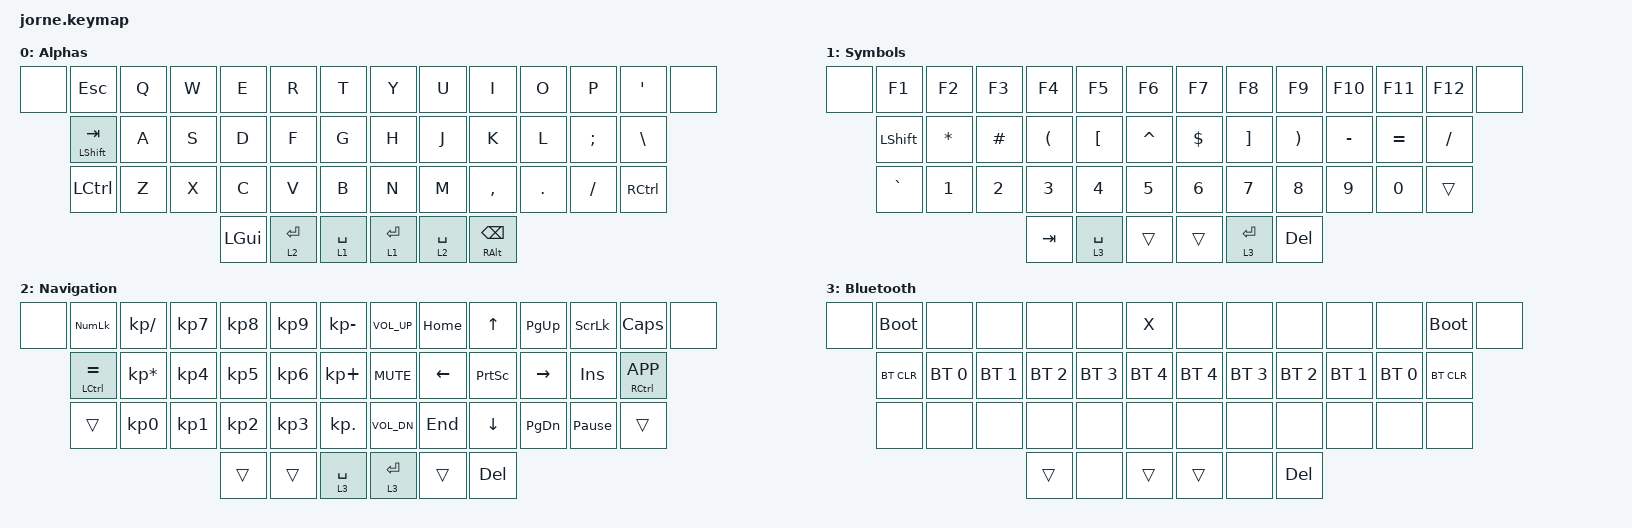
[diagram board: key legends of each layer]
#include <behaviors.dtsi>
#include <dt-bindings/zmk/bt.h>
#include <dt-bindings/zmk/keys.h>

/ {
    keymap {
        compatible = "zmk,keymap";

        Alphas {
            bindings = <
&none  &kp ESC        &kp Q  &kp W  &kp E         &kp R         &kp T        &kp Y        &kp U        &kp I          &kp O    &kp P     &kp SQT    &none
       &mt LSHFT TAB  &kp A  &kp S  &kp D         &kp F         &kp G        &kp H        &kp J        &kp K          &kp L    &kp SEMI  &kp BSLH
       &kp LCTRL      &kp Z  &kp X  &kp C         &kp V         &kp B        &kp N        &kp M        &kp COMMA      &kp DOT  &kp FSLH  &kp RCTRL
                                    &kp LEFT_GUI  &lt 2 RETURN  &lt 1 SPACE  &lt 1 ENTER  &lt 2 SPACE  &mt RALT BSPC
            >;
        };

        Symbols {
            bindings = <
&none  &kp F1     &kp F2    &kp F3    &kp F4    &kp F5       &kp F6     &kp F7    &kp F8       &kp F9    &kp F10    &kp F11    &kp F12   &none
       &kp LSHFT  &kp STAR  &kp HASH  &kp LPAR  &kp LBKT     &kp CARET  &kp DLLR  &kp RBKT     &kp RPAR  &kp MINUS  &kp EQUAL  &kp FSLH
       &kp GRAVE  &kp N1    &kp N2    &kp N3    &kp N4       &kp N5     &kp N6    &kp N7       &kp N8    &kp N9     &kp N0     &trans
                                      &kp TAB   &lt 3 SPACE  &trans     &trans    &lt 3 ENTER  &kp DEL
            >;
        };

        Navigation {
            bindings = <
&none  &kp KP_NUM       &kp KP_SLASH     &kp KP_N7  &kp KP_N8  &kp KP_N9  &kp KP_MINUS  &kp C_VOL_UP  &kp HOME  &kp UP     &kp PG_UP  &kp SLCK         &kp CAPS         &none
       &mt LCTRL EQUAL  &kp KP_MULTIPLY  &kp KP_N4  &kp KP_N5  &kp KP_N6  &kp KP_PLUS   &kp C_MUTE    &kp LEFT  &kp PSCRN  &kp RIGHT  &kp INS          &mt RCTRL K_APP
       &trans           &kp KP_N0        &kp KP_N1  &kp KP_N2  &kp KP_N3  &kp KP_DOT    &kp C_VOL_DN  &kp END   &kp DOWN   &kp PG_DN  &kp PAUSE_BREAK  &trans
                                                    &trans     &trans     &lt 3 SPACE   &lt 3 ENTER   &trans    &kp DEL
            >;
        };

        Bluetooth {
            bindings = <
&none  &bootloader  &none         &none         &none         &none         &kp X         &none         &none         &none         &none         &none         &bootloader  &none
       &bt BT_CLR   &bt BT_SEL 0  &bt BT_SEL 1  &bt BT_SEL 2  &bt BT_SEL 3  &bt BT_SEL 4  &bt BT_SEL 4  &bt BT_SEL 3  &bt BT_SEL 2  &bt BT_SEL 1  &bt BT_SEL 0  &bt BT_CLR
       &none        &none         &none         &none         &none         &none         &none         &none         &none         &none         &none         &none
                                                &trans        &none         &trans        &trans        &none         &kp DEL
            >;
        };
    };
};
